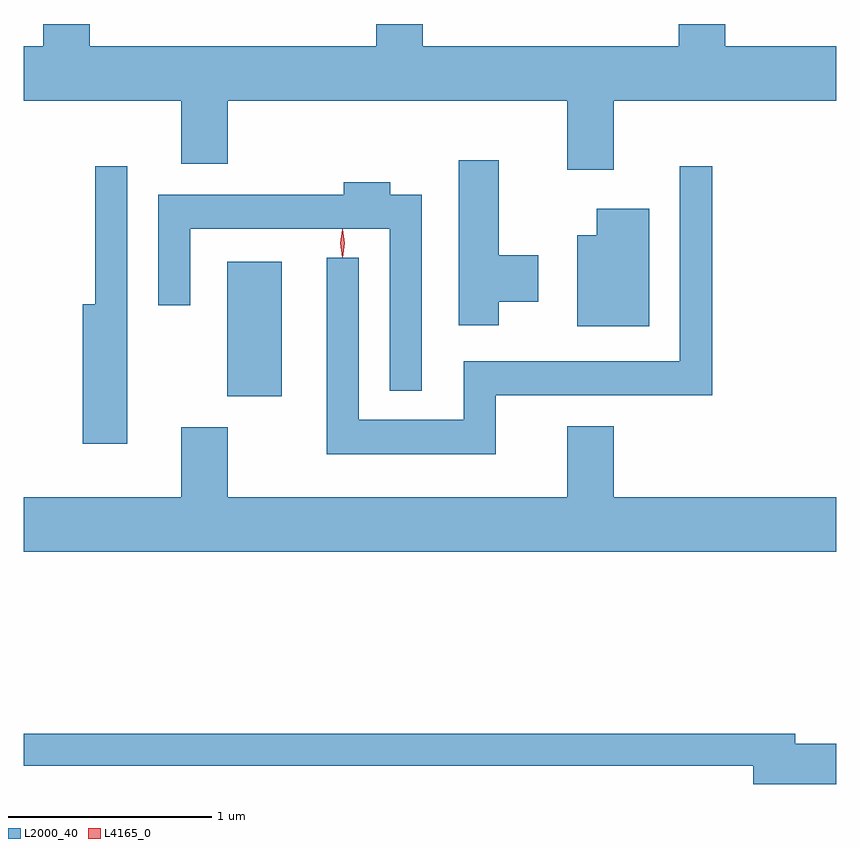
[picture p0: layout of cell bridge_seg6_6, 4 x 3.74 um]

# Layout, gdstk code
import gdstk
lib = gdstk.Library(unit=1e-6, precision=1e-09)
def R(c, l, rs):  # rectangles x0, y0, x1, y1
    for r in rs: c.add(gdstk.rectangle(r[:2], r[2:], *l))
def P(c, l, *ps):  # polygons
    for p in ps: c.add(gdstk.Polygon(p, *l))
L2000_40 = (2000, 40)
L4165_0 = (4165, 0)

bridge_seg6_6 = lib.new_cell('bridge_seg6_6')
R(bridge_seg6_6, L2000_40, [(1470.306,1635.161,1470.574,1635.824)])
P(bridge_seg6_6, L2000_40, [(1469.629,1636.994),(1469.401,1636.994),(1469.401,1636.884),(1469.305,1636.884),(1469.305,1636.616),(1470.081,1636.616),(1470.081,1636.306),(1470.309,1636.306),(1470.309,1636.616),(1471.981,1636.616),(1471.981,1636.276),(1472.209,1636.276),(1472.209,1636.616),(1473.305,1636.616),(1473.305,1636.884),(1472.759,1636.884),(1472.759,1636.994),(1472.531,1636.994),(1472.531,1636.884),(1471.269,1636.884),(1471.269,1636.994),(1471.041,1636.994),(1471.041,1636.884),(1469.629,1636.884)],
  [(1471.644,1635.626),(1471.839,1635.626),(1471.839,1635.854),(1471.644,1635.854),(1471.644,1636.324),(1471.446,1636.324),(1471.446,1635.511),(1471.644,1635.511)],
  [(1469.814,1636.293),(1469.656,1636.293),(1469.656,1635.614),(1469.596,1635.614),(1469.596,1634.926),(1469.814,1634.926)],
  [(1471.629,1635.166),(1472.694,1635.166),(1472.694,1636.293),(1472.536,1636.293),(1472.536,1635.334),(1471.471,1635.334),(1471.471,1635.044),(1470.954,1635.044),(1470.954,1635.843),(1470.796,1635.843),(1470.796,1634.876),(1471.629,1634.876)],
  [(1471.264,1636.154),(1471.109,1636.154),(1471.109,1636.214),(1470.881,1636.214),(1470.881,1636.154),(1469.966,1636.154),(1469.966,1635.608),(1470.124,1635.608),(1470.124,1635.986),(1471.106,1635.986),(1471.106,1635.188),(1471.264,1635.188)],
  [(1472.384,1636.084),(1472.126,1636.084),(1472.126,1635.954),(1472.031,1635.954),(1472.031,1635.506),(1472.384,1635.506)],
  [(1473.305,1634.664),(1472.209,1634.664),(1472.209,1635.014),(1471.981,1635.014),(1471.981,1634.664),(1470.309,1634.664),(1470.309,1635.009),(1470.081,1635.009),(1470.081,1634.664),(1469.305,1634.664),(1469.305,1634.396),(1473.305,1634.396)],
  [(1473.305,1633.449),(1473.104,1633.449),(1473.104,1633.499),(1469.305,1633.499),(1469.305,1633.341),(1472.896,1633.341),(1472.896,1633.251),(1473.305,1633.251)])
P(bridge_seg6_6, L4165_0, [(1470.874,1635.844),(1470.865,1635.914),(1470.874,1635.982),(1470.875,1635.983),(1470.876,1635.982),(1470.885,1635.914),(1470.876,1635.844),(1470.875,1635.844)],
  [(1470.872,1635.847),(1470.872,1635.848),(1470.862,1635.914),(1470.872,1635.98),(1470.872,1635.98),(1470.873,1635.98),(1470.882,1635.914),(1470.873,1635.848)])

lib.write_gds('bridge_seg6_6.gds')
